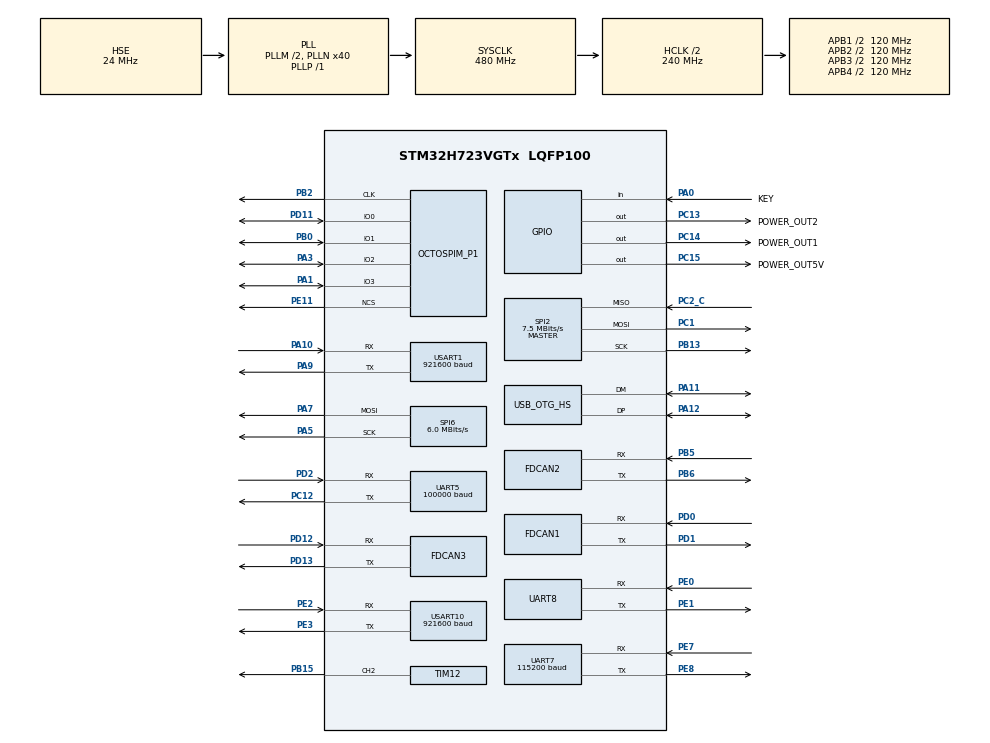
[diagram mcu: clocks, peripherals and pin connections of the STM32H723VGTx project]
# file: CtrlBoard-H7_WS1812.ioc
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Dma.Request0=UART7_RX
Dma.Request1=UART7_TX
Dma.Request2=USART1_RX
Dma.Request3=USART1_TX
Dma.Request4=UART5_RX
Dma.Request5=SPI2_RX
Dma.Request6=SPI2_TX
Dma.Request7=USART10_RX
Dma.Request8=USART10_TX
Dma.Request9=UART8_TX
Dma.SPI2_RX.5.Direction=DMA_PERIPH_TO_MEMORY
Dma.SPI2_RX.5.EventEnable=DISABLE
Dma.SPI2_RX.5.FIFOMode=DMA_FIFOMODE_DISABLE
Dma.SPI2_RX.5.Instance=DMA1_Stream0
Dma.SPI2_RX.5.MemDataAlignment=DMA_MDATAALIGN_BYTE
Dma.SPI2_RX.5.MemInc=DMA_MINC_ENABLE
Dma.SPI2_RX.5.Mode=DMA_NORMAL
Dma.SPI2_RX.5.PeriphDataAlignment=DMA_PDATAALIGN_BYTE
Dma.SPI2_RX.5.PeriphInc=DMA_PINC_DISABLE
Dma.SPI2_RX.5.Polarity=HAL_DMAMUX_REQ_GEN_RISING
Dma.SPI2_RX.5.Priority=DMA_PRIORITY_VERY_HIGH
Dma.SPI2_RX.5.RequestNumber=1
Dma.SPI2_RX.5.SignalID=NONE
Dma.SPI2_RX.5.SyncEnable=DISABLE
Dma.SPI2_RX.5.SyncPolarity=HAL_DMAMUX_SYNC_NO_EVENT
Dma.SPI2_RX.5.SyncRequestNumber=1
Dma.SPI2_RX.5.SyncSignalID=NONE
Dma.SPI2_TX.6.Direction=DMA_MEMORY_TO_PERIPH
Dma.SPI2_TX.6.EventEnable=DISABLE
Dma.SPI2_TX.6.FIFOMode=DMA_FIFOMODE_DISABLE
Dma.SPI2_TX.6.Instance=DMA1_Stream1
Dma.SPI2_TX.6.MemDataAlignment=DMA_MDATAALIGN_BYTE
Dma.SPI2_TX.6.MemInc=DMA_MINC_ENABLE
Dma.SPI2_TX.6.Mode=DMA_NORMAL
Dma.SPI2_TX.6.PeriphDataAlignment=DMA_PDATAALIGN_BYTE
Dma.SPI2_TX.6.PeriphInc=DMA_PINC_DISABLE
Dma.SPI2_TX.6.Polarity=HAL_DMAMUX_REQ_GEN_RISING
Dma.SPI2_TX.6.Priority=DMA_PRIORITY_HIGH
Dma.SPI2_TX.6.RequestNumber=1
Dma.SPI2_TX.6.SignalID=NONE
Dma.SPI2_TX.6.SyncEnable=DISABLE
Dma.SPI2_TX.6.SyncPolarity=HAL_DMAMUX_SYNC_NO_EVENT
Dma.SPI2_TX.6.SyncRequestNumber=1
Dma.SPI2_TX.6.SyncSignalID=NONE
Dma.UART5_RX.4.Direction=DMA_PERIPH_TO_MEMORY
Dma.UART5_RX.4.EventEnable=DISABLE
Dma.UART5_RX.4.FIFOMode=DMA_FIFOMODE_DISABLE
Dma.UART5_RX.4.Instance=DMA1_Stream4
Dma.UART5_RX.4.MemDataAlignment=DMA_MDATAALIGN_BYTE
Dma.UART5_RX.4.MemInc=DMA_MINC_ENABLE
Dma.UART5_RX.4.Mode=DMA_NORMAL
Dma.UART5_RX.4.PeriphDataAlignment=DMA_PDATAALIGN_BYTE
Dma.UART5_RX.4.PeriphInc=DMA_PINC_DISABLE
Dma.UART5_RX.4.Polarity=HAL_DMAMUX_REQ_GEN_RISING
Dma.UART5_RX.4.Priority=DMA_PRIORITY_VERY_HIGH
Dma.UART5_RX.4.RequestNumber=1
Dma.UART5_RX.4.SignalID=NONE
Dma.UART5_RX.4.SyncEnable=DISABLE
Dma.UART5_RX.4.SyncPolarity=HAL_DMAMUX_SYNC_NO_EVENT
Dma.UART5_RX.4.SyncRequestNumber=1
Dma.UART5_RX.4.SyncSignalID=NONE
Dma.UART7_RX.0.Direction=DMA_PERIPH_TO_MEMORY
Dma.UART7_RX.0.EventEnable=DISABLE
Dma.UART7_RX.0.FIFOMode=DMA_FIFOMODE_DISABLE
Dma.UART7_RX.0.Instance=DMA2_Stream0
Dma.UART7_RX.0.MemDataAlignment=DMA_MDATAALIGN_BYTE
Dma.UART7_RX.0.MemInc=DMA_MINC_ENABLE
Dma.UART7_RX.0.Mode=DMA_NORMAL
Dma.UART7_RX.0.PeriphDataAlignment=DMA_PDATAALIGN_BYTE
Dma.UART7_RX.0.PeriphInc=DMA_PINC_DISABLE
Dma.UART7_RX.0.Polarity=HAL_DMAMUX_REQ_GEN_RISING
Dma.UART7_RX.0.Priority=DMA_PRIORITY_HIGH
Dma.UART7_RX.0.RequestNumber=1
Dma.UART7_RX.0.SignalID=NONE
Dma.UART7_RX.0.SyncEnable=DISABLE
Dma.UART7_RX.0.SyncPolarity=HAL_DMAMUX_SYNC_NO_EVENT
Dma.UART7_RX.0.SyncRequestNumber=1
Dma.UART7_RX.0.SyncSignalID=NONE
Dma.UART7_TX.1.Direction=DMA_MEMORY_TO_PERIPH
Dma.UART7_TX.1.EventEnable=DISABLE
Dma.UART7_TX.1.FIFOMode=DMA_FIFOMODE_DISABLE
Dma.UART7_TX.1.Instance=DMA1_Stream2
Dma.UART7_TX.1.MemDataAlignment=DMA_MDATAALIGN_BYTE
Dma.UART7_TX.1.MemInc=DMA_MINC_ENABLE
Dma.UART7_TX.1.Mode=DMA_NORMAL
Dma.UART7_TX.1.PeriphDataAlignment=DMA_PDATAALIGN_BYTE
Dma.UART7_TX.1.PeriphInc=DMA_PINC_DISABLE
Dma.UART7_TX.1.Polarity=HAL_DMAMUX_REQ_GEN_RISING
Dma.UART7_TX.1.Priority=DMA_PRIORITY_MEDIUM
Dma.UART7_TX.1.RequestNumber=1
Dma.UART7_TX.1.SignalID=NONE
Dma.UART7_TX.1.SyncEnable=DISABLE
Dma.UART7_TX.1.SyncPolarity=HAL_DMAMUX_SYNC_NO_EVENT
Dma.UART7_TX.1.SyncRequestNumber=1
Dma.UART7_TX.1.SyncSignalID=NONE
Dma.UART8_TX.9.Direction=DMA_MEMORY_TO_PERIPH
Dma.UART8_TX.9.EventEnable=DISABLE
Dma.UART8_TX.9.FIFOMode=DMA_FIFOMODE_DISABLE
Dma.UART8_TX.9.Instance=DMA1_Stream7
Dma.UART8_TX.9.MemDataAlignment=DMA_MDATAALIGN_BYTE
Dma.UART8_TX.9.MemInc=DMA_MINC_ENABLE
Dma.UART8_TX.9.Mode=DMA_NORMAL
Dma.UART8_TX.9.PeriphDataAlignment=DMA_PDATAALIGN_BYTE
Dma.UART8_TX.9.PeriphInc=DMA_PINC_DISABLE
Dma.UART8_TX.9.Polarity=HAL_DMAMUX_REQ_GEN_RISING
Dma.UART8_TX.9.Priority=DMA_PRIORITY_LOW
Dma.UART8_TX.9.RequestNumber=1
Dma.UART8_TX.9.SignalID=NONE
Dma.UART8_TX.9.SyncEnable=DISABLE
Dma.UART8_TX.9.SyncPolarity=HAL_DMAMUX_SYNC_NO_EVENT
Dma.UART8_TX.9.SyncRequestNumber=1
Dma.UART8_TX.9.SyncSignalID=NONE
Dma.USART10_RX.7.Direction=DMA_PERIPH_TO_MEMORY
Dma.USART10_RX.7.EventEnable=DISABLE
Dma.USART10_RX.7.FIFOMode=DMA_FIFOMODE_DISABLE
Dma.USART10_RX.7.Instance=DMA1_Stream5
Dma.USART10_RX.7.MemDataAlignment=DMA_MDATAALIGN_BYTE
Dma.USART10_RX.7.MemInc=DMA_MINC_ENABLE
Dma.USART10_RX.7.Mode=DMA_NORMAL
Dma.USART10_RX.7.PeriphDataAlignment=DMA_PDATAALIGN_BYTE
Dma.USART10_RX.7.PeriphInc=DMA_PINC_DISABLE
Dma.USART10_RX.7.Polarity=HAL_DMAMUX_REQ_GEN_RISING
Dma.USART10_RX.7.Priority=DMA_PRIORITY_HIGH
Dma.USART10_RX.7.RequestNumber=1
Dma.USART10_RX.7.SignalID=NONE
Dma.USART10_RX.7.SyncEnable=DISABLE
Dma.USART10_RX.7.SyncPolarity=HAL_DMAMUX_SYNC_NO_EVENT
Dma.USART10_RX.7.SyncRequestNumber=1
Dma.USART10_RX.7.SyncSignalID=NONE
Dma.USART10_TX.8.Direction=DMA_MEMORY_TO_PERIPH
Dma.USART10_TX.8.EventEnable=DISABLE
Dma.USART10_TX.8.FIFOMode=DMA_FIFOMODE_DISABLE
Dma.USART10_TX.8.Instance=DMA1_Stream6
Dma.USART10_TX.8.MemDataAlignment=DMA_MDATAALIGN_BYTE
Dma.USART10_TX.8.MemInc=DMA_MINC_ENABLE
Dma.USART10_TX.8.Mode=DMA_NORMAL
Dma.USART10_TX.8.PeriphDataAlignment=DMA_PDATAALIGN_BYTE
Dma.USART10_TX.8.PeriphInc=DMA_PINC_DISABLE
Dma.USART10_TX.8.Polarity=HAL_DMAMUX_REQ_GEN_RISING
Dma.USART10_TX.8.Priority=DMA_PRIORITY_MEDIUM
Dma.USART10_TX.8.RequestNumber=1
Dma.USART10_TX.8.SignalID=NONE
Dma.USART10_TX.8.SyncEnable=DISABLE
Dma.USART10_TX.8.SyncPolarity=HAL_DMAMUX_SYNC_NO_EVENT
Dma.USART10_TX.8.SyncRequestNumber=1
Dma.USART10_TX.8.SyncSignalID=NONE
Dma.USART1_RX.2.Direction=DMA_PERIPH_TO_MEMORY
Dma.USART1_RX.2.EventEnable=DISABLE
Dma.USART1_RX.2.FIFOMode=DMA_FIFOMODE_DISABLE
Dma.USART1_RX.2.Instance=DMA2_Stream1
Dma.USART1_RX.2.MemDataAlignment=DMA_MDATAALIGN_BYTE
Dma.USART1_RX.2.MemInc=DMA_MINC_ENABLE
Dma.USART1_RX.2.Mode=DMA_NORMAL
Dma.USART1_RX.2.PeriphDataAlignment=DMA_PDATAALIGN_BYTE
Dma.USART1_RX.2.PeriphInc=DMA_PINC_DISABLE
Dma.USART1_RX.2.Polarity=HAL_DMAMUX_REQ_GEN_RISING
Dma.USART1_RX.2.Priority=DMA_PRIORITY_LOW
Dma.USART1_RX.2.RequestNumber=1
Dma.USART1_RX.2.SignalID=NONE
Dma.USART1_RX.2.SyncEnable=DISABLE
Dma.USART1_RX.2.SyncPolarity=HAL_DMAMUX_SYNC_NO_EVENT
Dma.USART1_RX.2.SyncRequestNumber=1
Dma.USART1_RX.2.SyncSignalID=NONE
Dma.USART1_TX.3.Direction=DMA_MEMORY_TO_PERIPH
Dma.USART1_TX.3.EventEnable=DISABLE
Dma.USART1_TX.3.FIFOMode=DMA_FIFOMODE_DISABLE
Dma.USART1_TX.3.Instance=DMA1_Stream3
Dma.USART1_TX.3.MemDataAlignment=DMA_MDATAALIGN_BYTE
Dma.USART1_TX.3.MemInc=DMA_MINC_ENABLE
Dma.USART1_TX.3.Mode=DMA_NORMAL
Dma.USART1_TX.3.PeriphDataAlignment=DMA_PDATAALIGN_BYTE
Dma.USART1_TX.3.PeriphInc=DMA_PINC_DISABLE
Dma.USART1_TX.3.Polarity=HAL_DMAMUX_REQ_GEN_RISING
Dma.USART1_TX.3.Priority=DMA_PRIORITY_LOW
Dma.USART1_TX.3.RequestNumber=1
Dma.USART1_TX.3.SignalID=NONE
Dma.USART1_TX.3.SyncEnable=DISABLE
Dma.USART1_TX.3.SyncPolarity=HAL_DMAMUX_SYNC_NO_EVENT
Dma.USART1_TX.3.SyncRequestNumber=1
Dma.USART1_TX.3.SyncSignalID=NONE
FDCAN1.AutoRetransmission=DISABLE
FDCAN1.CalculateBaudRateNominal=1000000
FDCAN1.CalculateTimeBitNominal=1000
FDCAN1.CalculateTimeQuantumNominal=40.0
FDCAN1.DataPrescaler=3
FDCAN1.DataSyncJumpWidth=10
FDCAN1.DataTimeSeg1=29
FDCAN1.DataTimeSeg2=10
FDCAN1.ExtFiltersNbr=0
FDCAN1.FrameFormat=FDCAN_FRAME_CLASSIC
FDCAN1.NominalPrescaler=4
FDCAN1.NominalSyncJumpWidth=10
FDCAN1.NominalTimeSeg1=19
FDCAN1.NominalTimeSeg2=5
FDCAN1.ProtocolException=ENABLE
FDCAN1.RxBuffersNbr=0
FDCAN1.RxFifo0ElmtsNbr=8
FDCAN1.RxFifo1ElmtsNbr=0
FDCAN1.StdFiltersNbr=1
FDCAN1.TxBuffersNbr=0
FDCAN1.TxEventsNbr=0
FDCAN1.TxFifoQueueElmtsNbr=8
FDCAN2.AutoRetransmission=DISABLE
FDCAN2.CalculateBaudRateNominal=1000000
FDCAN2.CalculateTimeBitNominal=1000
FDCAN2.CalculateTimeQuantumNominal=50.0
FDCAN2.DataPrescaler=5
FDCAN2.DataSyncJumpWidth=1
FDCAN2.DataTimeSeg1=14
FDCAN2.DataTimeSeg2=5
FDCAN2.ExtFiltersNbr=0
FDCAN2.MessageRAMOffset=854
FDCAN2.Mode=FDCAN_MODE_NORMAL
FDCAN2.NominalPrescaler=5
FDCAN2.NominalSyncJumpWidth=1
FDCAN2.NominalTimeSeg1=14
FDCAN2.NominalTimeSeg2=5
FDCAN2.ProtocolException=DISABLE
FDCAN2.RxBuffersNbr=0
FDCAN2.RxFifo0ElmtsNbr=8
FDCAN2.RxFifo1ElmtsNbr=8
FDCAN2.StdFiltersNbr=5
FDCAN2.TxBuffersNbr=0
FDCAN2.TxElmtSize=FDCAN_DATA_BYTES_16
FDCAN2.TxEventsNbr=0
FDCAN2.TxFifoQueueElmtsNbr=8
FDCAN3.AutoRetransmission=ENABLE
FDCAN3.CalculateBaudRateNominal=1250000
FDCAN3.CalculateTimeBitNominal=800
FDCAN3.CalculateTimeQuantumNominal=10.0
FDCAN3.DataSyncJumpWidth=2
FDCAN3.DataTimeSeg1=13
FDCAN3.DataTimeSeg2=2
FDCAN3.ExtFiltersNbr=4
FDCAN3.MessageRAMOffset=0x812
FDCAN3.NominalPrescaler=1
FDCAN3.NominalSyncJumpWidth=20
FDCAN3.NominalTimeSeg1=59
FDCAN3.NominalTimeSeg2=20
FDCAN3.ProtocolException=ENABLE
FDCAN3.RxBuffersNbr=3
FDCAN3.RxFifo0ElmtsNbr=8
FDCAN3.RxFifo1ElmtsNbr=8
FDCAN3.StdFiltersNbr=4
FDCAN3.TxBuffersNbr=8
FDCAN3.TxEventsNbr=8
FDCAN3.TxFifoQueueElmtsNbr=8
FREERTOS.Tasks01=defaultTask,24,128,StartDefaultTask,Default,NULL,Dynamic,NULL,NULL
Mcu.Family=STM32H7
Mcu.Name=STM32H723VGTx
Mcu.Package=LQFP100
NVIC.DMA1_Stream0_IRQn=true\:5\:0\:false\:false\:true\:true\:true\:true\:true
NVIC.DMA1_Stream1_IRQn=true\:5\:0\:false\:false\:true\:true\:true\:true\:true
NVIC.DMA1_Stream2_IRQn=true\:5\:0\:false\:false\:true\:true\:true\:true\:true
NVIC.DMA1_Stream3_IRQn=true\:5\:0\:false\:false\:true\:true\:true\:true\:true
NVIC.DMA1_Stream4_IRQn=true\:5\:0\:false\:false\:true\:true\:true\:true\:true
NVIC.DMA1_Stream5_IRQn=true\:5\:0\:false\:false\:true\:true\:true\:true\:true
NVIC.DMA1_Stream6_IRQn=true\:5\:0\:false\:false\:true\:true\:true\:true\:true
NVIC.DMA1_Stream7_IRQn=true\:5\:0\:false\:false\:true\:true\:true\:true\:true
NVIC.DMA2_Stream0_IRQn=true\:5\:0\:false\:false\:true\:true\:false\:true\:true
NVIC.DMA2_Stream1_IRQn=true\:5\:0\:false\:false\:true\:true\:false\:true\:true
NVIC.FDCAN1_IT0_IRQn=true\:5\:0\:true\:false\:true\:true\:true\:true\:true
NVIC.FDCAN1_IT1_IRQn=true\:5\:0\:false\:false\:true\:true\:true\:true\:true
NVIC.FDCAN2_IT0_IRQn=true\:5\:0\:false\:false\:true\:true\:true\:true\:true
NVIC.FDCAN2_IT1_IRQn=true\:5\:0\:false\:false\:true\:true\:true\:true\:true
NVIC.FDCAN3_IT0_IRQn=true\:5\:0\:false\:false\:true\:true\:true\:true\:true
NVIC.FDCAN3_IT1_IRQn=true\:5\:0\:false\:false\:true\:true\:true\:true\:true
NVIC.OTG_HS_IRQn=true\:5\:0\:false\:false\:true\:true\:true\:true\:true
NVIC.PriorityGroup=NVIC_PRIORITYGROUP_4
NVIC.SPI2_IRQn=true\:5\:0\:false\:false\:true\:true\:true\:true\:true
NVIC.TIM23_IRQn=true\:15\:0\:false\:false\:true\:false\:false\:true\:true
NVIC.TIM24_IRQn=true\:5\:0\:false\:false\:true\:true\:true\:true\:true
NVIC.TIM6_DAC_IRQn=true\:5\:0\:false\:false\:true\:true\:true\:true\:true
NVIC.TimeBase=TIM23_IRQn
NVIC.TimeBaseIP=TIM23
NVIC.UART5_IRQn=true\:5\:0\:false\:false\:true\:true\:true\:true\:true
NVIC.UART7_IRQn=true\:5\:0\:false\:false\:true\:true\:true\:true\:true
NVIC.UART8_IRQn=true\:5\:0\:false\:false\:true\:true\:true\:true\:true
NVIC.USART10_IRQn=true\:5\:0\:false\:false\:true\:true\:true\:true\:true
NVIC.USART1_IRQn=true\:5\:0\:false\:false\:true\:true\:true\:true\:true
OCTOSPI2.ClockMode=HAL_OSPI_CLOCK_MODE_3
OCTOSPI2.ClockPrescaler=3
OCTOSPI2.DeviceSize=23
OCTOSPI2.FifoThreshold=8
OCTOSPI2.SampleShifting=HAL_OSPI_SAMPLE_SHIFTING_HALFCYCLE
PA0.GPIO_Label=KEY
PA0.GPIO_PuPd=GPIO_PULLUP
PA0.Signal=GPIO_Input
PA1.Mode=OCTOSPI2_IOL_Port1L
PA1.Signal=OCTOSPIM_P1_IO3
PA10.Mode=Asynchronous
PA10.Signal=USART1_RX
PA11.Mode=Device_Only_FS
PA11.Signal=USB_OTG_HS_DM
PA12.Mode=Device_Only_FS
PA12.Signal=USB_OTG_HS_DP
PA13(JTMS/SWDIO).Mode=Serial_Wire
PA13(JTMS/SWDIO).Signal=DEBUG_JTMS-SWDIO
PA14(JTCK/SWCLK).Mode=Serial_Wire
PA14(JTCK/SWCLK).Signal=DEBUG_JTCK-SWCLK
PA3.Mode=OCTOSPI2_IOL_Port1L
PA3.Signal=OCTOSPIM_P1_IO2
PA5.GPIO_Speed=GPIO_SPEED_FREQ_VERY_HIGH
PA5.Mode=TX_Only_Simplex_Unidirect_Master
PA5.Signal=SPI6_SCK
PA7.GPIO_Speed=GPIO_SPEED_FREQ_VERY_HIGH
PA7.Mode=TX_Only_Simplex_Unidirect_Master
PA7.Signal=SPI6_MOSI
PA9.Mode=Asynchronous
PA9.Signal=USART1_TX
PB0.Mode=OCTOSPI2_IOL_Port1L
PB0.Signal=OCTOSPIM_P1_IO1
PB13.GPIO_Speed=GPIO_SPEED_FREQ_VERY_HIGH
PB13.Mode=Full_Duplex_Master
PB13.Signal=SPI2_SCK
PB15.Signal=S_TIM12_CH2
PB2.Mode=O2_P1_CLK
PB2.Signal=OCTOSPIM_P1_CLK
PB5.Mode=FDCAN_Activate
PB5.Signal=FDCAN2_RX
PB6.Mode=FDCAN_Activate
PB6.Signal=FDCAN2_TX
PC1.GPIO_Speed=GPIO_SPEED_FREQ_VERY_HIGH
PC1.Mode=Full_Duplex_Master
PC1.Signal=SPI2_MOSI
PC12.Mode=Asynchronous
PC12.Signal=UART5_TX
PC13.GPIO_Label=POWER_OUT2
PC13.PinState=GPIO_PIN_SET
PC13.Signal=GPIO_Output
PC14-OSC32_IN.GPIO_Label=POWER_OUT1
PC14-OSC32_IN.PinState=GPIO_PIN_SET
PC14-OSC32_IN.Signal=GPIO_Output
PC15-OSC32_OUT.GPIO_Label=POWER_OUT5V
PC15-OSC32_OUT.PinState=GPIO_PIN_SET
PC15-OSC32_OUT.Signal=GPIO_Output
PC2_C.GPIO_Speed=GPIO_SPEED_FREQ_VERY_HIGH
PC2_C.Mode=Full_Duplex_Master
PC2_C.Signal=SPI2_MISO
PD0.Mode=FDCAN_Activate
PD0.Signal=FDCAN1_RX
PD1.Mode=FDCAN_Activate
PD1.Signal=FDCAN1_TX
PD11.Mode=OCTOSPI2_IOL_Port1L
PD11.Signal=OCTOSPIM_P1_IO0
PD12.Mode=FDCAN_Activate
PD12.Signal=FDCAN3_RX
PD13.Mode=FDCAN_Activate
PD13.Signal=FDCAN3_TX
PD2.Mode=Asynchronous
PD2.Signal=UART5_RX
PE0.Mode=Asynchronous
PE0.Signal=UART8_RX
PE1.Mode=Asynchronous
PE1.Signal=UART8_TX
PE11.Mode=OCTOSPI2_Port1_NCS
PE11.Signal=OCTOSPIM_P1_NCS
PE2.Mode=Asynchronous
PE2.Signal=USART10_RX
PE3.Mode=Asynchronous
PE3.Signal=USART10_TX
PE7.Mode=Asynchronous
PE7.Signal=UART7_RX
PE8.Mode=Asynchronous
PE8.Signal=UART7_TX
PH0-OSC_IN.Mode=HSE-External-Oscillator
PH0-OSC_IN.Signal=RCC_OSC_IN
PH1-OSC_OUT.Mode=HSE-External-Oscillator
PH1-OSC_OUT.Signal=RCC_OSC_OUT
ProjectManager.HeapSize=0x200
ProjectManager.StackSize=0x800
ProjectManager.TargetToolchain=MDK-ARM V5.27
RCC.ADCFreq_Value=100000000
RCC.APB1Freq_Value=120000000
RCC.APB2Freq_Value=120000000
RCC.APB3Freq_Value=120000000
RCC.APB4Freq_Value=120000000
RCC.CortexFreq_Value=480000000
RCC.D1PPRE=RCC_APB3_DIV2
RCC.D2PPRE1=RCC_APB1_DIV2
RCC.D2PPRE2=RCC_APB2_DIV2
RCC.D3PPRE=RCC_APB4_DIV2
RCC.DIVM1=2
RCC.DIVM2=24
RCC.DIVN1=40
RCC.DIVN2=200
RCC.DIVP1=1
RCC.FDCANCLockSelection=RCC_FDCANCLKSOURCE_PLL2
RCC.HCLKFreq_Value=240000000
RCC.HPRE=RCC_HCLK_DIV2
RCC.HSE_VALUE=24000000
RCC.PLL2FRACN=0
RCC.PLL3FRACN=0
RCC.PLLFRACN=0
RCC.PLLSourceVirtual=RCC_PLLSOURCE_HSE
RCC.SPI6CLockSelection=RCC_SPI6CLKSOURCE_HSE
RCC.SYSCLKFreq_VALUE=480000000
RCC.SYSCLKSource=RCC_SYSCLKSOURCE_PLLCLK
RCC.USBCLockSelection=RCC_USBCLKSOURCE_HSI48
RCC.USBFreq_Value=48000000
SH.S_TIM12_CH2.0=TIM12_CH2,PWM Generation2 CH2
SPI2.BaudRatePrescaler=SPI_BAUDRATEPRESCALER_32
SPI2.CLKPhase=SPI_PHASE_2EDGE
SPI2.CLKPolarity=SPI_POLARITY_HIGH
SPI2.CalculateBaudRate=7.5 MBits/s
SPI2.DataSize=SPI_DATASIZE_8BIT
SPI2.Direction=SPI_DIRECTION_2LINES
SPI2.Mode=SPI_MODE_MASTER
SPI2.VirtualType=VM_MASTER
SPI6.BaudRatePrescaler=SPI_BAUDRATEPRESCALER_4
SPI6.CLKPhase=SPI_PHASE_2EDGE
SPI6.CLKPolarity=SPI_POLARITY_LOW
SPI6.CalculateBaudRate=6.0 MBits/s
SPI6.DataSize=SPI_DATASIZE_8BIT
SPI6.Direction=SPI_DIRECTION_2LINES_TXONLY
SPI6.Mode=SPI_MODE_MASTER
SPI6.VirtualType=VM_MASTER
TIM12.Channel-PWM\ Generation2\ CH2=TIM_CHANNEL_2
TIM12.Period=2000-1
TIM12.Prescaler=240-1
TIM24.AutoReloadPreload=TIM_AUTORELOAD_PRELOAD_ENABLE
TIM24.Prescaler=239
TIM6.Period=1000
TIM6.Prescaler=240
UART5.BaudRate=100000
UART5.Parity=PARITY_EVEN
UART5.StopBits=UART_STOPBITS_2
UART5.WordLength=WORDLENGTH_9B
UART7.BaudRate=115200
USART1.BaudRate=921600
USART1.VirtualMode-Asynchronous=VM_ASYNC
USART10.BaudRate=921600
USART10.VirtualMode=VM_ASYNC
USB_DEVICE.CLASS_NAME_HS=CDC
USB_DEVICE.VirtualMode=Cdc
USB_DEVICE.VirtualModeHS=Cdc_HS
USB_OTG_HS.VirtualMode-Device_Only_FS=Device_Only_FS
VP_FREERTOS_VS_CMSIS_V2.Mode=CMSIS_V2
VP_MEMORYMAP_VS_MEMORYMAP.Mode=CurAppReg
VP_OCTOSPI2_VS_quad.Mode=quad_mode
VP_SYS_VS_tim23.Mode=TIM23
VP_TIM24_VS_ClockSourceINT.Mode=Internal
VP_TIM6_VS_ClockSourceINT.Mode=Enable_Timer
VP_USB_DEVICE_VS_USB_DEVICE_CDC_HS.Mode=CDC_HS
board=custom

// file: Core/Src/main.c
/* USER CODE BEGIN Header */
/**
  ******************************************************************************
  * @file           : main.c
  * @brief          : Main program body
  ******************************************************************************
  * @attention
  *
  * Copyright (c) 2024 STMicroelectronics.
  * All rights reserved.
  *
  * This software is licensed under terms that can be found in the LICENSE file
  * in the root directory of this software component.
  * If no LICENSE file comes with this software, it is provided AS-IS.
  *
  ******************************************************************************
  */
/* USER CODE END Header */
#include "main.h"
#include "FreeRTOS.h"
#include "cmsis_os2.h"
#include "dma.h"
#include "fdcan.h"
#include "octospi.h"
#include "spi.h"
#include "tim.h"
#include "usart.h"
#include "usb_device.h"
#include "gpio.h"

/* USER CODE BEGIN Includes */
#include "bsp_fdcan.h"
#include "bsp_usart.h"
#include "string.h"
#include "ws2812.h"
#include "safewarning.h"
#include "uproto.h"
#include "usb_cdc_port.h"
#include "bsp_tim24.h"
#include "w25q64.h"
/* USER CODE END Includes */

/* USER CODE BEGIN PD */
#define DEBUG 1		//调试模式
/* USER CODE END PD */

/* USER CODE BEGIN PV */
uint8_t uart1_rebuffer[10];

uint8_t can2send_test[8] = {0xff,0xff,0xff,0xff,0xff,0xff,0x00,0xfd};

uint16_t tim6_tick = 0;
uint16_t datapack_ordorcount = 0;
/* USER CODE END PV */

void SystemClock_Config(void);
void PeriphCommonClock_Config(void);
void MX_FREERTOS_Init(void);
/* USER CODE BEGIN PFP */
void proto_init_from_main(void);
/* USER CODE END PFP */

/* USER CODE BEGIN 0 */
uproto_context_t proto_ctx;

/* USER CODE END 0 */

int main(void)
{

  /* MCU Configuration--------------------------------------------------------*/

  /* Reset of all peripherals, Initializes the Flash interface and the Systick. */
  HAL_Init();

  /* Configure the system clock */
  SystemClock_Config();

  /* Configure the peripherals common clocks */
  PeriphCommonClock_Config();

  /* Initialize all configured peripherals */
  MX_GPIO_Init();
  MX_DMA_Init();
  MX_SPI6_Init();
  MX_USART1_UART_Init();
  MX_UART7_Init();
  MX_FDCAN1_Init();
  MX_TIM6_Init();
  MX_FDCAN2_Init();
  MX_TIM12_Init();
  MX_FDCAN3_Init();
  MX_UART5_Init();
  MX_USART10_UART_Init();
  MX_SPI2_Init();
  MX_TIM24_Init();
  MX_UART8_Init();
  MX_OCTOSPI2_Init();
  /* USER CODE BEGIN 2 */
	if (OSPI_W25Qxx_Init() != OSPI_W25Qxx_OK)
	{
		Error_Handler();
	}
//  	Servo_Mapping_Init();
	bsp_can_init();

	HAL_UARTEx_ReceiveToIdle_DMA(&huart1, usart1_buf[0], USART_RX_BUF_LENGHT);
	HAL_UARTEx_ReceiveToIdle_DMA(&huart5, remote_buff, SBUS_RX_BUF_NUM);
	HAL_UARTEx_ReceiveToIdle_DMA(&huart7, usart7_buf, sizeof(usart7_buf));
	HAL_UARTEx_ReceiveToIdle_DMA(&huart10, usart10_buf, sizeof(usart10_buf));

	HAL_Delay (1000);
	tim24_timebase_init();
	proto_init_from_main();
//	HAL_TIM_Base_Start_IT(&htim6);
	// 播放开机提示音

	/*CAN独立指令发送*/
	#if DEBUG
//	Motor_save_zero(&hfdcan2, 0x01);
//	Motor_MIT_MODE(&hfdcan2, 0x02);
//	fdcanx_send_data(&hfdcan2, 0x02,can2send_test, 8);
	#endif
  /* USER CODE END 2 */

  /* Init scheduler */
  osKernelInitialize();  /* Call init function for freertos objects (in cmsis_os2.c) */
  MX_FREERTOS_Init();

  /* Start scheduler */
  osKernelStart();

  /* We should never get here as control is now taken by the scheduler */

  /* Infinite loop */
  while (1)
  {

  }
}

void SystemClock_Config(void)
{
  RCC_OscInitTypeDef RCC_OscInitStruct = {0};
  RCC_ClkInitTypeDef RCC_ClkInitStruct = {0};

  /** Supply configuration update enable
  */
  HAL_PWREx_ConfigSupply(PWR_LDO_SUPPLY);

  /** Configure the main internal regulator output voltage
  */
  __HAL_PWR_VOLTAGESCALING_CONFIG(PWR_REGULATOR_VOLTAGE_SCALE0);

  while(!__HAL_PWR_GET_FLAG(PWR_FLAG_VOSRDY)) {}

  /** Initializes the RCC Oscillators according to the specified parameters
  * in the RCC_OscInitTypeDef structure.
  */
  RCC_OscInitStruct.OscillatorType = RCC_OSCILLATORTYPE_HSI48|RCC_OSCILLATORTYPE_HSE;
  RCC_OscInitStruct.HSEState = RCC_HSE_ON;
  RCC_OscInitStruct.HSI48State = RCC_HSI48_ON;
  RCC_OscInitStruct.PLL.PLLState = RCC_PLL_ON;
  RCC_OscInitStruct.PLL.PLLSource = RCC_PLLSOURCE_HSE;
  RCC_OscInitStruct.PLL.PLLM = 2;
  RCC_OscInitStruct.PLL.PLLN = 40;
  RCC_OscInitStruct.PLL.PLLP = 1;
  RCC_OscInitStruct.PLL.PLLQ = 2;
  RCC_OscInitStruct.PLL.PLLR = 2;
  RCC_OscInitStruct.PLL.PLLRGE = RCC_PLL1VCIRANGE_3;
  RCC_OscInitStruct.PLL.PLLVCOSEL = RCC_PLL1VCOWIDE;
  RCC_OscInitStruct.PLL.PLLFRACN = 0;
  if (HAL_RCC_OscConfig(&RCC_OscInitStruct) != HAL_OK)
  {
    Error_Handler();
  }

  /** Initializes the CPU, AHB and APB buses clocks
  */
  RCC_ClkInitStruct.ClockType = RCC_CLOCKTYPE_HCLK|RCC_CLOCKTYPE_SYSCLK
                              |RCC_CLOCKTYPE_PCLK1|RCC_CLOCKTYPE_PCLK2
                              |RCC_CLOCKTYPE_D3PCLK1|RCC_CLOCKTYPE_D1PCLK1;
  RCC_ClkInitStruct.SYSCLKSource = RCC_SYSCLKSOURCE_PLLCLK;
  RCC_ClkInitStruct.SYSCLKDivider = RCC_SYSCLK_DIV1;
  RCC_ClkInitStruct.AHBCLKDivider = RCC_HCLK_DIV2;
  RCC_ClkInitStruct.APB3CLKDivider = RCC_APB3_DIV2;
  RCC_ClkInitStruct.APB1CLKDivider = RCC_APB1_DIV2;
  RCC_ClkInitStruct.APB2CLKDivider = RCC_APB2_DIV2;
  RCC_ClkInitStruct.APB4CLKDivider = RCC_APB4_DIV2;

  if (HAL_RCC_ClockConfig(&RCC_ClkInitStruct, FLASH_LATENCY_3) != HAL_OK)
  {
    Error_Handler();
  }
}

void PeriphCommonClock_Config(void)
{
  RCC_PeriphCLKInitTypeDef PeriphClkInitStruct = {0};

  /** Initializes the peripherals clock
  */
  PeriphClkInitStruct.PeriphClockSelection = RCC_PERIPHCLK_FDCAN;
  PeriphClkInitStruct.PLL2.PLL2M = 24;
  PeriphClkInitStruct.PLL2.PLL2N = 200;
  PeriphClkInitStruct.PLL2.PLL2P = 2;
  PeriphClkInitStruct.PLL2.PLL2Q = 2;
  PeriphClkInitStruct.PLL2.PLL2R = 2;
  PeriphClkInitStruct.PLL2.PLL2RGE = RCC_PLL2VCIRANGE_0;
  PeriphClkInitStruct.PLL2.PLL2VCOSEL = RCC_PLL2VCOMEDIUM;
  PeriphClkInitStruct.PLL2.PLL2FRACN = 0;
  PeriphClkInitStruct.FdcanClockSelection = RCC_FDCANCLKSOURCE_PLL2;
  if (HAL_RCCEx_PeriphCLKConfig(&PeriphClkInitStruct) != HAL_OK)
  {
    Error_Handler();
  }
}

/* USER CODE BEGIN 4 */

static uint32_t proto_time_now(void *user)
{
  (void)user;
  return HAL_GetTick();
}

void proto_init_from_main(void)
{
  uproto_port_ops_t port_ops;
  usb_cdc_port_get_ops(&port_ops);

  uproto_time_ops_t time_ops = {
    .now_ms = proto_time_now,
    .user = NULL,
  };

  uproto_config_t cfg = {
    .handshake_timeout_ms = 0,
    .heartbeat_interval_ms = 0,
    .default_timeout_ms = 3000,
    .default_retries = 3,
    .enable_auto_handshake = false,
    .event_cb = NULL,
    .event_user = NULL,
  };

  uproto_init(&proto_ctx, &port_ops, &time_ops, &cfg);
}

/* USER CODE END 4 */

void HAL_TIM_PeriodElapsedCallback(TIM_HandleTypeDef *htim)
{
  /* USER CODE BEGIN Callback 0 */
	if (htim->Instance == TIM6)
	{
		Beep_Task();
  }
  /* USER CODE END Callback 0 */
  if (htim->Instance == TIM23)
  {
    HAL_IncTick();
  }
  /* USER CODE BEGIN Callback 1 */
	if (htim->Instance == TIM24)
	{
		tim24_timebase_on_overflow();
	}

  /* USER CODE END Callback 1 */
}

void Error_Handler(void)
{
  __disable_irq();
  while (1)
  {
  }
}

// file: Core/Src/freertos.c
/* USER CODE BEGIN Header */
/**
  ******************************************************************************
  * File Name          : freertos.c
  * Description        : Code for freertos applications
  ******************************************************************************
  * @attention
  *
  * Copyright (c) 2025 STMicroelectronics.
  * All rights reserved.
  *
  * This software is licensed under terms that can be found in the LICENSE file
  * in the root directory of this software component.
  * If no LICENSE file comes with this software, it is provided AS-IS.
  *
  ******************************************************************************
  */
/* USER CODE END Header */

#include "FreeRTOS.h"
#include "task.h"
#include "main.h"
#include "FreeRTOS.h"
#include "cmsis_os2.h"

/* USER CODE BEGIN Includes */

#include "gimbal_task.h"
#include "service_task.h"
#include "auto_aim.h"
#include "comm_app.h"
#include "chassis_task.h"
#include "detect_task.h"
#include "light_task.h"
#include "referee_usart_task.h"
/* USER CODE END Includes */

/* Definitions for defaultTask */
osThreadId_t defaultTaskHandle;
const osThreadAttr_t defaultTask_attributes = {
  .name = "defaultTask",
  .stack_size = 128 * 4,
  .priority = (osPriority_t) osPriorityNormal,
};

void StartDefaultTask(void *argument);

extern void MX_USB_DEVICE_Init(void);
void MX_FREERTOS_Init(void); /* (MISRA C 2004 rule 8.1) */

void MX_FREERTOS_Init(void) {

  /* Create the thread(s) */
  /* creation of defaultTask */
  defaultTaskHandle = osThreadNew(StartDefaultTask, NULL, &defaultTask_attributes);

  /* USER CODE BEGIN RTOS_THREADS */
	/* add threads, ... */
    static const osThreadAttr_t auto_aim_attributes = {
      .name = "auto_aim",
      .stack_size = 256 * 4,
      .priority = (osPriority_t) osPriorityRealtime,
    };
    static const osThreadAttr_t detect_attributes = {
      .name = "detect",
      .stack_size = 128 * 4,
      .priority = (osPriority_t) osPriorityLow,
    };
    static const osThreadAttr_t chassis_attributes = {
      .name = "chassis",
      .stack_size = 768 * 4,
      .priority = (osPriority_t) osPriorityHigh,
    };
    (void)osThreadNew(auto_aim_task, NULL, &auto_aim_attributes);
	comm_app_start();
	GimbalTask_Init();
	ServiceTask_Init();
	LightTask_Init();
    (void)osThreadNew(detect_task, NULL, &detect_attributes);
    (void)osThreadNew(chassis_task, NULL, &chassis_attributes);
	RefereeUsartTask_Init();
  /* USER CODE END RTOS_THREADS */

}

void StartDefaultTask(void *argument)
{
  /* init code for USB_DEVICE */
  MX_USB_DEVICE_Init();
  for(;;)
  {
    osDelay(1);
  }
}
